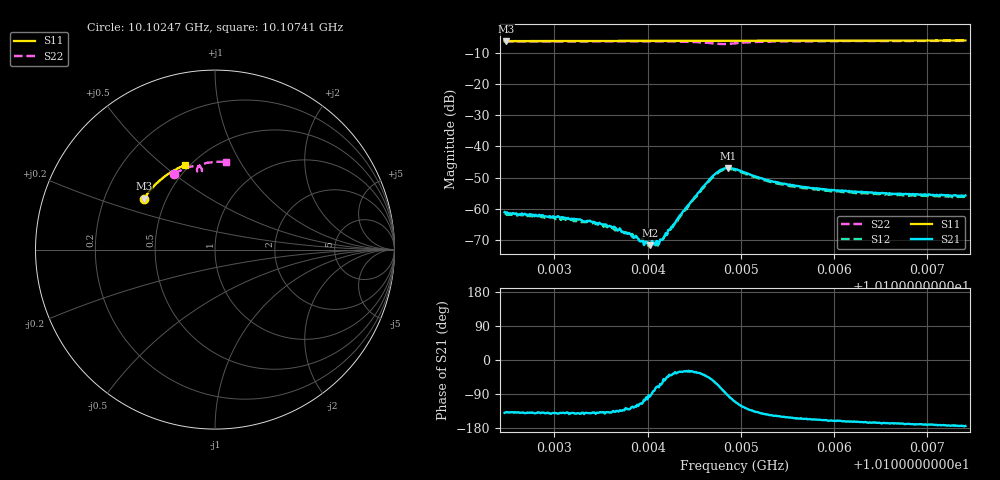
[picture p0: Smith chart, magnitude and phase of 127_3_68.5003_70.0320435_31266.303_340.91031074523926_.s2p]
#  HZ  S  RI  R  50.00
! Rohde & Schwarz Vector Network Analyzer
! Rohde-Schwarz,ZNB20-2Port,1311601062101988,3.16
! Created: UTC 3/20/2024, 4:54:14 PM
! freq[Hz]  re:S11  im:S11  re:S21  im:S21  re:S12  im:S12  re:S22  im:S22
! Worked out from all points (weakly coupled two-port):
!   401 points, 10.10247 GHz to 10.10741 GHz, reference 50 ohm
!   highest |S21| = -46.89 dB at 10.10486 GHz (marker M1); lowest = -71.7 dB at 10.10402 GHz (marker M2)
!   lowest |S11| = -6.3 dB at 10.10248 GHz (marker M3), VSWR 2.90, Z = 18.8 + j14 ohm
!   |S11| at or under -10 dB: nowhere
!   |S22| runs from -7.2 to -6.2 dB; largest |S21 - S12| = 0.00046
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1.0102466e10  -0.3962 0.2827  -0.000672 -0.000576  -0.000567 -0.000611  -0.2292 0.4208
1.0102478e10  -0.3958 0.2833  -0.000644 -0.000573  -0.000551 -0.00063  -0.2284 0.4213
1.0102972e10  -0.3786 0.3083  -0.000573 -0.000468  -0.000525 -0.000519  -0.1999 0.4371
1.0103294e10  -0.3667 0.3237  -0.000499 -0.000426  -0.00043 -0.000429  -0.1803 0.4463
1.0103405e10  -0.3626 0.329  -0.000465 -0.000407  -0.000407 -0.000412  -0.1733 0.4493
1.0103615e10  -0.3543 0.3386  -0.000378 -0.000339  -0.000333 -0.000381  -0.1598 0.4545
1.01038e10  -0.3467 0.3471  -0.000266 -0.000315  -0.000207 -0.000311  -0.147 0.4588
1.0103936e10  -0.341 0.3532  -0.000131 -0.000273  -0.000106 -0.000311  -0.1375 0.4617
1.0104023e10  -0.3374 0.3569  -3.08e-05 -0.000258  -2.07e-06 -0.000266  -0.1312 0.4633
1.0104097e10  -0.3343 0.3602  0.000101 -0.000292  0.000124 -0.000239  -0.1254 0.4645
1.0104122e10  -0.3333 0.3612  8.43e-05 -0.000259  0.000146 -0.000254  -0.1236 0.4649
1.0104146e10  -0.3322 0.3623  0.000137 -0.000289  0.000197 -0.000234  -0.1214 0.4653
1.0104183e10  -0.3305 0.364  0.000217 -0.000298  0.000233 -0.000282  -0.1185 0.4657
1.0104356e10  -0.3231 0.3712  0.000694 -0.000415  0.000712 -0.00031  -0.1032 0.4666
1.010469e10  -0.3079 0.3846  0.002 -0.00254  0.0021 -0.00229  -0.0727 0.4448
1.0104789e10  -0.3035 0.3884  0.00108 -0.0041  0.00136 -0.00382  -0.0797 0.4307
1.0104863e10  -0.3001 0.3913  -0.000311 -0.00451  8.33e-05 -0.00434  -0.0917 0.4302
1.0104937e10  -0.2967 0.3942  -0.00147 -0.00407  -0.0011 -0.00402  -0.0995 0.4384
1.0105333e10  -0.2779 0.4092  -0.0023 -0.00154  -0.00206 -0.00168  -0.0783 0.4727
1.0105765e10  -0.2565 0.4241  -0.00197 -0.000849  -0.00183 -0.000987  -0.0459 0.483
1.0106593e10  -0.2132 0.4497  -0.00173 -0.00039  -0.0016 -0.000522  0.0106 0.4889
1.0107409e10  -0.1682 0.47  -0.00163 -0.000166  -0.00152 -0.000326  0.0639 0.487
